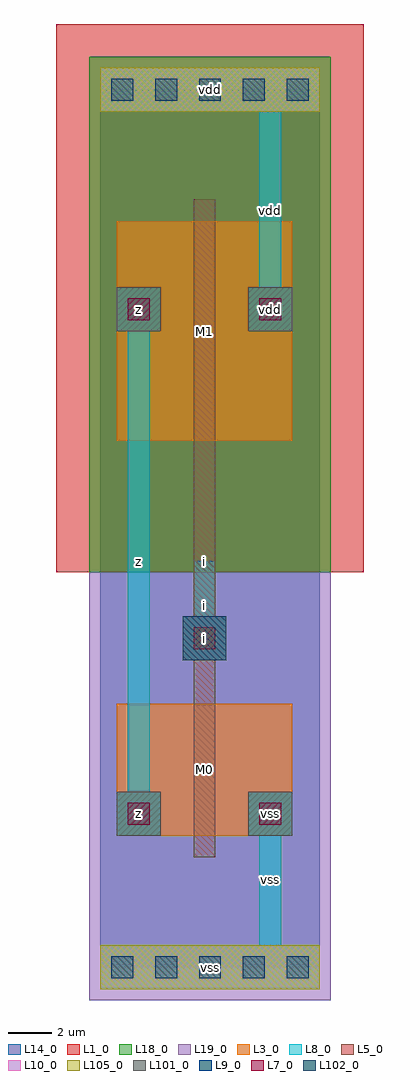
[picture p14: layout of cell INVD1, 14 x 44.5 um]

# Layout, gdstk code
import gdstk
lib = gdstk.Library(unit=1e-6, precision=2.5e-07)
def R(c, l, rs):  # rectangles x0, y0, x1, y1
    for r in rs: c.add(gdstk.rectangle(r[:2], r[2:], *l))
def A(c, l, x, y, w, h, nx, ny, dx, dy):  # array of equal rectangles
    R(c, l, [(x+i*dx, y+j*dy, x+i*dx+w, y+j*dy+h) for i in range(nx) for j in range(ny)])
L1_0 = (1, 0)
L3_0 = (3, 0)
L5_0 = (5, 0)
L7_0 = (7, 0)
L8_0 = (8, 0)
L9_0 = (9, 0)
L10_0 = (10, 0)
L13_0 = (13, 0)
L14_0 = (14, 0)
L18_0 = (18, 0)
L19_0 = (19, 0)
L101_0 = (101, 0)
L102_0 = (102, 0)
L105_0 = (105, 0)

invd1 = lib.new_cell('INVD1')
R(invd1, L1_0, [(-2,18,12,43)])
R(invd1, L3_0, [(0.75,6,8.75,12), (0.75,6,2.75,8), (6.75,6,8.75,8), (0.75,24,8.75,34), (0.75,29,2.75,31), (6.75,29,8.75,31)])
R(invd1, L5_0, [(4.25,5,5.25,13), (4.25,6.5,5.25,30.5), (3.75,14,5.75,16), (4.25,23,5.25,35)])
R(invd1, L7_0, [(1.25,6.5,2.25,7.5), (7.25,6.5,8.25,7.5), (4.25,14.5,5.25,15.5), (1.25,29.5,2.25,30.5), (7.25,29.5,8.25,30.5)])
R(invd1, L8_0, [(0,-1,10,1), (7.25,0.5,8.25,7.5), (0.75,6,2.75,8), (6.75,6,8.75,8), (1.25,6.5,2.25,30.5), (3.75,14,5.75,16), (4.25,14.5,5.25,18.5), (0.75,29,2.75,31), (6.75,29,8.75,31), (7.25,29.5,8.25,39.5), (0,39,10,41)])
A(invd1, L9_0, 0.5, -0.5, 1, 1, 5, 2, 2, 40)
R(invd1, L10_0, [(0,-1,10,1), (0,39,10,41)])
R(invd1, L14_0, [(0,0,10,40)])
R(invd1, L18_0, [(-0.5,18,10.5,38.5), (-0.5,38.5,10.5,41.5)])
R(invd1, L19_0, [(-0.5,-1.5,10.5,1.5), (-0.5,1.5,10.5,18)])
R(invd1, L101_0, [(0.75,6,2.75,8), (6.75,6,8.75,8), (0.75,29,2.75,31), (6.75,29,8.75,31)])
R(invd1, L102_0, [(3.75,14,5.75,16)])
A(invd1, L105_0, 0, -1, 2, 2, 5, 2, 2, 40)
invd1.add(gdstk.FlexPath([(0.75,3),(8.75,3)], 0, ends="flush", simple_path=True, layer=13, datatype=0))  # L13_0
invd1.add(gdstk.FlexPath([(0.75,7),(8.75,7)], 0, ends="flush", simple_path=True, layer=13, datatype=0))  # L13_0
invd1.add(gdstk.FlexPath([(0.75,11),(8.75,11)], 0, ends="flush", simple_path=True, layer=13, datatype=0))  # L13_0
invd1.add(gdstk.FlexPath([(0.75,15),(8.75,15)], 0, ends="flush", simple_path=True, layer=13, datatype=0))  # L13_0
invd1.add(gdstk.FlexPath([(0.75,18),(8.75,18)], 0, ends="flush", simple_path=True, layer=13, datatype=0))  # L13_0
invd1.add(gdstk.FlexPath([(0.75,21),(8.75,21)], 0, ends="flush", simple_path=True, layer=13, datatype=0))  # L13_0
invd1.add(gdstk.FlexPath([(0.75,25),(8.75,25)], 0, ends="flush", simple_path=True, layer=13, datatype=0))  # L13_0
invd1.add(gdstk.FlexPath([(0.75,30),(8.75,30)], 0, ends="flush", simple_path=True, layer=13, datatype=0))  # L13_0
invd1.add(gdstk.FlexPath([(0.75,33),(8.75,33)], 0, ends="flush", simple_path=True, layer=13, datatype=0))  # L13_0
invd1.add(gdstk.FlexPath([(0.75,37),(8.75,37)], 0, ends="flush", simple_path=True, layer=13, datatype=0))  # L13_0
invd1.add(gdstk.FlexPath([(1.75,0.5),(1.75,39.5)], 0, ends="flush", simple_path=True, layer=13, datatype=0))  # L13_0
invd1.add(gdstk.FlexPath([(4.75,0.5),(4.75,39.5)], 0, ends="flush", simple_path=True, layer=13, datatype=0))  # L13_0
invd1.add(gdstk.FlexPath([(7.75,0.5),(7.75,39.5)], 0, ends="flush", simple_path=True, layer=13, datatype=0))  # L13_0
invd1.add(gdstk.Label('M0', (4.75,9), layer=3, texttype=0))
invd1.add(gdstk.Label('M1', (4.75,29), layer=3, texttype=0))
invd1.add(gdstk.Label('z', (1.75,7), layer=3, texttype=0))
invd1.add(gdstk.Label('z', (1.75,30), layer=3, texttype=0))
invd1.add(gdstk.Label('vss', (7.75,7), layer=3, texttype=0))
invd1.add(gdstk.Label('vdd', (7.75,30), layer=3, texttype=0))
invd1.add(gdstk.Label('z', (1.75,7), layer=101, texttype=0))
invd1.add(gdstk.Label('z', (1.75,30), layer=101, texttype=0))
invd1.add(gdstk.Label('vss', (7.75,7), layer=101, texttype=0))
invd1.add(gdstk.Label('vdd', (7.75,30), layer=101, texttype=0))
invd1.add(gdstk.Label('z', (1.75,7), layer=8, texttype=0))
invd1.add(gdstk.Label('z', (1.75,30), layer=8, texttype=0))
invd1.add(gdstk.Label('z', (1.75,18.5), layer=8, texttype=0))
invd1.add(gdstk.Label('i', (4.75,15), layer=8, texttype=0))
invd1.add(gdstk.Label('i', (4.75,16.5), layer=8, texttype=0))
invd1.add(gdstk.Label('vss', (7.75,7), layer=8, texttype=0))
invd1.add(gdstk.Label('vss', (7.75,4), layer=8, texttype=0))
invd1.add(gdstk.Label('vdd', (7.75,30), layer=8, texttype=0))
invd1.add(gdstk.Label('vdd', (7.75,34.5), layer=8, texttype=0))
invd1.add(gdstk.Label('vss', (5,0), layer=8, texttype=0))
invd1.add(gdstk.Label('vdd', (5,40), layer=8, texttype=0))
invd1.add(gdstk.Label('vss', (5,0), layer=10, texttype=0))
invd1.add(gdstk.Label('vdd', (5,40), layer=10, texttype=0))
invd1.add(gdstk.Label('i', (4.75,18.5), layer=5, texttype=0))
invd1.add(gdstk.Label('i', (4.75,15), layer=5, texttype=0))
invd1.add(gdstk.Label('i', (4.75,15), layer=102, texttype=0))

lib.write_gds('INVD1.gds')
